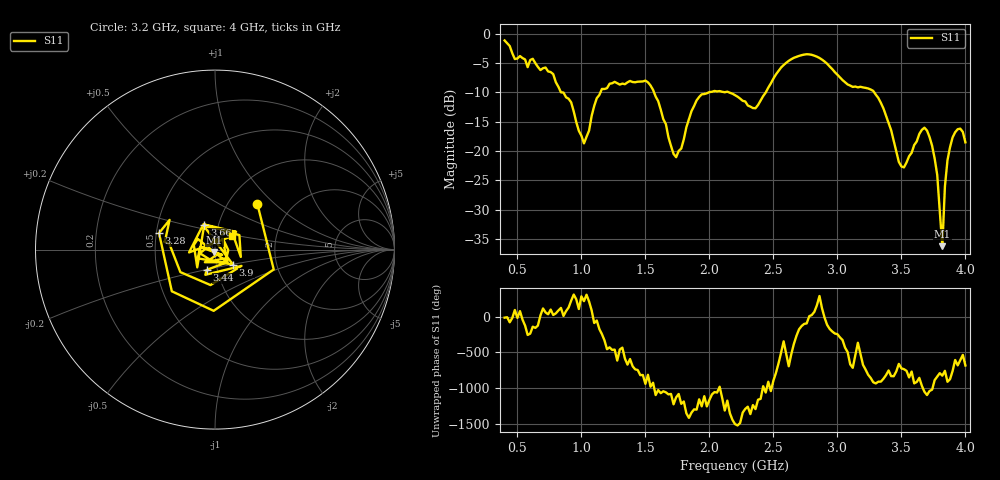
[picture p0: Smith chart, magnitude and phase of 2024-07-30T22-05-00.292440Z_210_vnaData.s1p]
!Created with skrf (http://scikit-rf.org).
# Hz S RI R 50.0
!freq ReS11 ImS11
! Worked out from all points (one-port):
!   181 points, 400 MHz to 4 GHz, reference 50 ohm
!   lowest |S11| = -36.2 dB at 3.82 GHz (marker M1), VSWR 1.03, Z = 49.6 - j1.49 ohm
!   |S11| at or under -10 dB: 842.9 MHz to 1.149 GHz (306 MHz wide, 30.7 % of centre); 1.567 GHz to 1.996 GHz (428.9 MHz wide, 24.1 % of centre); 3.288 GHz to end of sweep (the widest 3 of 4)
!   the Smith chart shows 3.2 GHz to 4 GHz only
!   S11 on the Smith chart (normalised r, x): 3.2 GHz: 1.35, +0.79; 3.28 GHz: 0.52, +0.11; 3.44 GHz: 0.89, -0.20; 3.66 GHz: 0.86, +0.24; 3.9 GHz: 1.20, -0.20; 4 GHz: 1.19, +0.18
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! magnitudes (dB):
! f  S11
! 400 MHz  -1.2
! 860 MHz  -10.0
! 1.02 GHz  -18.7
! 1.16 GHz  -9.4
! 1.3 GHz  -8.7
! 1.52 GHz  -8.3
! 1.72 GHz  -20.5
! 1.76 GHz  -20.0
! 1.94 GHz  -10.3
! 2.2 GHz  -10.5
! 2.36 GHz  -12.7
! 2.66 GHz  -4.1
! 2.84 GHz  -3.9
! 3.1 GHz  -8.8
! 3.2 GHz  -9.2
! 3.28 GHz  -9.8
! 3.44 GHz  -18.3
! 3.5 GHz  -22.6
! 3.56 GHz  -20.9
! 3.66 GHz  -16.4
! 3.7 GHz  -16.5
! 3.76 GHz  -21.3
! 3.78 GHz  -24.1
! 3.82 GHz  -36.2
! 3.84 GHz  -26.0
! 3.9 GHz  -17.7
! 3.96 GHz  -16.2
! 4 GHz  -18.5
